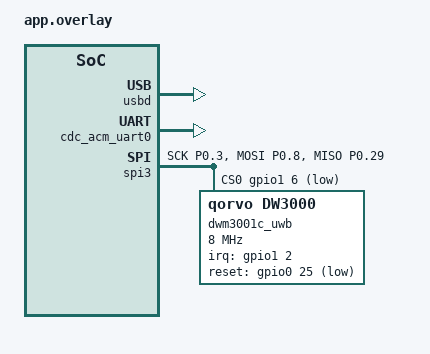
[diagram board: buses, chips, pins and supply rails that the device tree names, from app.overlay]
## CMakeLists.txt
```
cmake_minimum_required(VERSION 3.20.0)

# Configure Devicetree inputs before locating Zephyr
# - Use this app's overlay
set(DTC_OVERLAY_FILE ${CMAKE_CURRENT_SOURCE_DIR}/app.overlay)
# - Add the uwb_chipid directory which contains our custom DT bindings
#   (dts/bindings/qorvo,dw3000.yaml)
set(DTS_ROOT
    ${CMAKE_CURRENT_SOURCE_DIR}
    ${CMAKE_CURRENT_SOURCE_DIR}/../uwb_chipid
)

find_package(Zephyr REQUIRED HINTS $ENV{ZEPHYR_BASE})
project(twr_initiator)

# Qorvo DW3000 driver from SDK
set(QORVO_DWT_PATH ${CMAKE_CURRENT_SOURCE_DIR}/../../DW3_QM33_SDK_1/Drivers/API/Shared/dwt_uwb_driver)
target_include_directories(app PRIVATE
  ${QORVO_DWT_PATH}
  # For deca_probe_interface.h reused from uwb_chipid
  ${CMAKE_CURRENT_SOURCE_DIR}/../uwb_chipid/src
)

# App sources
target_sources(app PRIVATE
  src/main.c
  # Reuse the tiny Zephyr port and probe interface from uwb_chipid demo
  ${CMAKE_CURRENT_SOURCE_DIR}/../uwb_chipid/src/dw3000_port.c
  ${CMAKE_CURRENT_SOURCE_DIR}/../uwb_chipid/src/deca_probe_interface_zephyr.c
  ${CMAKE_CURRENT_SOURCE_DIR}/../uwb_chipid/src/deca_rsl_stub.c
)

# Minimal set of driver sources (TX/RX + timestamps)
target_sources(app PRIVATE
    ${QORVO_DWT_PATH}/deca_interface.c
    ${QORVO_DWT_PATH}/deca_compat.c
    ${QORVO_DWT_PATH}/dw3000/dw3000_device.c
)
```

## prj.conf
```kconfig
# Console over USB CDC (J20) using classic USB stack
CONFIG_SERIAL=y
CONFIG_CONSOLE=y
CONFIG_PRINTK=y
CONFIG_UART_CONSOLE=y
CONFIG_UART_LINE_CTRL=y

# Classic USB device stack + CDC ACM
CONFIG_USB_DEVICE_STACK=y
CONFIG_USB_CDC_ACM=y

# Core drivers and debug
CONFIG_SPI=y
CONFIG_GPIO=y
CONFIG_THREAD_NAME=y
CONFIG_ASSERT=y
CONFIG_HEAP_MEM_POOL_SIZE=2048

# Optional logging (immediate to avoid buffering over CDC)
CONFIG_LOG=y
CONFIG_LOG_MODE_IMMEDIATE=y
```

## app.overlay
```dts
/*
 * DWM3001CDK TWR Initiator overlay
 * - USB CDC ACM console via USBD (new stack)
 * - DW3110 (DW3000) wiring on nRF52833 DK (DWM3001CDK)
 */

/ {
    chosen {
        zephyr,console = &cdc_acm_uart0;
        zephyr,shell-uart = &cdc_acm_uart0;
    };
};

/* USB CDC */
&usbd { status = "okay"; };

/* USB CDC ACM UART-backed console */
&zephyr_udc0 {
    cdc_acm_uart0: cdc_acm_uart0 {
        compatible = "zephyr,cdc-acm-uart";
        label = "CDC_ACM_0";
    };
};

/* --- DW3110 on SPI --- */
/* 1) Enable the SPI controller actually wired to the DW3110 (DWM3001CDK uses SPIM3) */
&spi3 {
    status = "okay";
    /* Use pinctrl (required by nrf-spim binding) */
    pinctrl-0 = <&spi3_dwm_default>;
    pinctrl-1 = <&spi3_dwm_sleep>;
    pinctrl-names = "default", "sleep";
    /* DW3110 uses a GPIO-based CS line */
    cs-gpios = <&gpio1 6 GPIO_ACTIVE_LOW>;
};

/* 2) Create a child node describing the DW3110 on that SPI bus */
&spi3 {
    dwm3001c_uwb: dwm3001c_uwb@0 {
        compatible = "qorvo,dw3000";
        reg = <0>;
        spi-max-frequency = <8000000>; /* start slow, you can raise after probe */

        /* From DWM3001CDK board header/schematic */
        irq-gpios  = <&gpio1 2 GPIO_ACTIVE_HIGH>;  /* DW3110 IRQ → P1.02 */
        reset-gpios= <&gpio0 25 GPIO_ACTIVE_LOW>;  /* DW3110 RSTn → P0.25 */
    };
};

/* Custom pinctrl groups for SPIM3 wired to DW3110 on DWM3001CDK */
&pinctrl {
    spi3_dwm_default: spi3_dwm_default {
        group1 {
            psels = <NRF_PSEL(SPIM_SCK, 0, 3)>,
                    <NRF_PSEL(SPIM_MOSI, 0, 8)>,
                    <NRF_PSEL(SPIM_MISO, 0, 29)>;
        };
    };

    spi3_dwm_sleep: spi3_dwm_sleep {
        group1 {
            psels = <NRF_PSEL(SPIM_SCK, 0, 3)>,
                    <NRF_PSEL(SPIM_MOSI, 0, 8)>,
                    <NRF_PSEL(SPIM_MISO, 0, 29)>;
            low-power-enable;
        };
    };
};
```

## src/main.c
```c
#include <zephyr/kernel.h>
#include <zephyr/sys/printk.h>
#include <zephyr/usb/usb_device.h>
#include <zephyr/drivers/uart.h>
#include <string.h>
#include <zephyr/device.h>
#include <zephyr/drivers/gpio.h>

/* Qorvo DW3000 driver headers */
#include "deca_device_api.h"
#include "deca_probe_interface.h"

/* Port helpers from uwb_chipid demo */
int dw_port_init(void);
void dw_port_reset_assert(void);
void dw_port_reset_deassert(void);

/* === Simple shared message header === */
enum { MSG_POLL = 0x01, MSG_RESP = 0x02, MSG_FINAL = 0x03 };
struct __attribute__((packed)) uwb_msg {
    uint8_t type;
    uint8_t seq;
    uint8_t tag_id; /* optional */
    uint8_t rsv;
};

struct __attribute__((packed)) final_payload {
    uint64_t t_tx_poll;
    uint64_t t_rx_resp;
    uint64_t t_tx_final; /* include to help responder compute */
};

/* Conversion: UWB microsecond (uus) to device time units (DTU) */
#define UUS_TO_DWT_TIME 63898U

/* Practical constants */
#define RESP_EXPECT_DLY_UUS 300U      /* RX after POLL TX delay to expect RESP */
#define FINAL_DELAY_UUS     300U      /* delay from RESP RX to FINAL TX */
#define RX_TIMEOUT_UUS      15000U    /* 15 ms safety */

/* IRQ from DT (same node as uwb_chipid) */
#define UWB_NODE DT_NODELABEL(dwm3001c_uwb)
static const struct gpio_dt_spec uwb_irq = GPIO_DT_SPEC_GET(UWB_NODE, irq_gpios);

/* ISR -> callbacks -> semaphores */
static struct k_sem sem_tx_done;
static struct k_sem sem_rx_done;
static struct k_sem sem_rx_to;
static struct k_sem sem_rx_err;

static uint8_t rx_buf[128];
static uint16_t rx_len;
static uint64_t last_rx_ts;
static uint64_t last_tx_ts;

static inline uint64_t ts5_to_u64(const uint8_t ts[5])
{
    uint64_t v = ((uint64_t)ts[4] << 32) | ((uint64_t)ts[3] << 24) |
                 ((uint64_t)ts[2] << 16) | ((uint64_t)ts[1] << 8) | (uint64_t)ts[0];
    return v;
}

static uint64_t get_rx_timestamp_u64(void)
{
    uint8_t ts[5] = {0};
    dwt_readrxtimestamp(ts, DWT_COMPAT_NONE);
    return ts5_to_u64(ts);
}

static uint64_t get_tx_timestamp_u64(void)
{
    uint8_t ts[5] = {0};
    dwt_readtxtimestamp(ts);
    return ts5_to_u64(ts);
}

/* DWT IRQ -> run driver ISR */
static struct gpio_callback irq_cb;
static void uwb_irq_handler(const struct device *dev, struct gpio_callback *cb, uint32_t pins)
{
    ARG_UNUSED(dev); ARG_UNUSED(cb); ARG_UNUSED(pins);
    dwt_isr();
}

/* DWT event callbacks */
static void on_tx_done(const dwt_cb_data_t *cb)
{
    ARG_UNUSED(cb);
    last_tx_ts = get_tx_timestamp_u64();
    k_sem_give(&sem_tx_done);
}

static void on_rx_ok(const dwt_cb_data_t *cb)
{
    rx_len = cb->datalength;
    if (rx_len > sizeof(rx_buf)) rx_len = sizeof(rx_buf);
    dwt_readrxdata(rx_buf, rx_len, 0);
    last_rx_ts = get_rx_timestamp_u64();
    k_sem_give(&sem_rx_done);
}

static void on_rx_to(const dwt_cb_data_t *cb)
{
    ARG_UNUSED(cb);
    k_sem_give(&sem_rx_to);
}

static void on_rx_err(const dwt_cb_data_t *cb)
{
    ARG_UNUSED(cb);
    k_sem_give(&sem_rx_err);
}

static void usb_ready_wait(void)
{
    /* Bring up USB device stack */
    (void)usb_enable(NULL);
    /* Allow some time for enumeration to start */
    k_msleep(100);

    /* Wait for a host terminal to open (DTR asserted) on CDC ACM */
    const struct device *const uart_dev = DEVICE_DT_GET(DT_NODELABEL(cdc_acm_uart0));

    /* If the CDC ACM device is not yet ready, poll briefly */
    int tries = 50; /* ~5s max */
    while (!device_is_ready(uart_dev) && tries--) {
        k_msleep(100);
    }

    /* Block until the host asserts DTR so the banner is not lost. */
    uint32_t dtr = 0;
    while (1) {
        (void)uart_line_ctrl_get(uart_dev, UART_LINE_CTRL_DTR, &dtr);
        if (dtr) {
            break;
        }
        k_msleep(50);
    }
    /* Small settle to avoid cutting the first line */
    k_msleep(50);
}

static int dw3110_radio_init(void)
{
    /* Hardware reset */
    dw_port_reset_assert();
    k_msleep(2);
    dw_port_reset_deassert();
    k_msleep(5);

    if (dwt_probe((struct dwt_probe_s *)&dw3000_probe_interf) < 0) {
        return -EIO;
    }
    while (!dwt_checkidlerc()) {
        k_busy_wait(50);
    }
    if (dwt_initialise(DWT_READ_OTP_ALL) != DWT_SUCCESS) {
        return -EIO;
    }

    /* Load a sane profile: Ch 9, 6.8 Mbps, PRF64, preamble 128, 4A SFD */
    dwt_config_t cfg = {
        .chan = 9,
        .txPreambLength = DWT_PLEN_128,
        .rxPAC = DWT_PAC8,
        .txCode = 9,
        .rxCode = 9,
        .sfdType = DWT_SFD_IEEE_4A,
        .dataRate = DWT_BR_6M8,
        .phrMode = DWT_PHRMODE_STD,
        .phrRate = DWT_PHRRATE_STD,
        .sfdTO = DWT_SFDTOC_DEF,
        .stsMode = DWT_STS_MODE_OFF,
        .stsLength = DWT_STS_LEN_32,
        .pdoaMode = DWT_PDOA_M0,
    };
    if (dwt_configure(&cfg) != DWT_SUCCESS) {
        return -EIO;
    }

    /* Disable frame filtering */
    dwt_configureframefilter(DWT_FF_DISABLE, 0);

    /* Enable interrupts: TX done, RX good, RX timeout, preamble timeout */
    dwt_setinterrupt(DWT_INT_TXFRS_BIT_MASK |
                         DWT_INT_RXFCG_BIT_MASK |
                         DWT_INT_RXFTO_BIT_MASK |
                         DWT_INT_RXPTO_BIT_MASK,
                     0, DWT_ENABLE_INT);

    /* Register callbacks */
    dwt_callbacks_s cbs = {0};
    cbs.cbTxDone = on_tx_done;
    cbs.cbRxOk = on_rx_ok;
    cbs.cbRxTo = on_rx_to;
    cbs.cbRxErr = on_rx_err;
    dwt_setcallbacks(&cbs);

    return 0;
}

static int irq_setup(void)
{
    if (!device_is_ready(uwb_irq.port)) return -ENODEV;
    int ret = gpio_pin_configure_dt(&uwb_irq, GPIO_INPUT);
    if (ret) return ret;
    ret = gpio_pin_interrupt_configure_dt(&uwb_irq, GPIO_INT_EDGE_TO_ACTIVE);
    if (ret) return ret;
    gpio_init_callback(&irq_cb, uwb_irq_handler, BIT(uwb_irq.pin));
    gpio_add_callback(uwb_irq.port, &irq_cb);
    return 0;
}

static void print_times_init(uint8_t seq,
                             uint64_t t_tx_poll,
                             uint64_t t_rx_resp,
                             uint64_t t_tx_resp_remote,
                             uint64_t t_tx_final)
{
    /* rssi/snr placeholders */
    int rssi_q8 = 0, snr_q8 = 0;
    printk("INIT: seq=%u txP=%llu rxR=%llu txRr=%llu txF=%llu rssiQ8=%d snrQ8=%d\n",
           seq, t_tx_poll, t_rx_resp, t_tx_resp_remote, t_tx_final, rssi_q8, snr_q8);
}

void main(void)
{
    usb_ready_wait();
    printk("\n[DWM3001CDK] TWR Initiator start\n");

    k_sem_init(&sem_tx_done, 0, 1);
    k_sem_init(&sem_rx_done, 0, 1);
    k_sem_init(&sem_rx_to, 0, 1);
    k_sem_init(&sem_rx_err, 0, 1);

    if (dw_port_init()) {
        printk("Port init failed. Check overlay pins.\n");
        return;
    }
    if (irq_setup()) {
        printk("IRQ setup failed.\n");
        return;
    }
    if (dw3110_radio_init()) {
        printk("DW3110 init failed.\n");
        return;
    }

    /* Configure expected RESP window */
    dwt_setrxaftertxdelay(RESP_EXPECT_DLY_UUS);
    dwt_setrxtimeout(300); /* ~300 UUS for response frame body */
    dwt_setpreambledetecttimeout(5);

    uint16_t tx_ant = dwt_gettxantennadelay();
    uint8_t seq = 0;

    uint32_t no_resp_counter = 0;
    while (1) {
        /* --- POLL --- */
        uint8_t tx_frame[sizeof(struct uwb_msg)] = {0};
        struct uwb_msg *p = (struct uwb_msg *)tx_frame;
        p->type = MSG_POLL;
        p->seq = seq;
        p->tag_id = 0x01;
        p->rsv = 0x00;

        dwt_writetxdata(sizeof(tx_frame), tx_frame, 0);
        dwt_writetxfctrl(sizeof(tx_frame), 0, 1);
        dwt_starttx(DWT_START_TX_IMMEDIATE | DWT_RESPONSE_EXPECTED);
        (void)k_sem_take(&sem_tx_done, K_MSEC(5));
        uint64_t t_tx_poll = last_tx_ts;

        /* --- wait RESP --- */
        uint64_t t_rx_resp = 0;
        uint64_t t_tx_resp_remote = 0;
        int got_resp = 0;
        if (k_sem_take(&sem_rx_done, K_MSEC(20)) == 0) {
            if (rx_len >= sizeof(struct uwb_msg)) {
                struct uwb_msg *m = (struct uwb_msg *)rx_buf;
                if (m->type == MSG_RESP && m->seq == seq) {
                    t_rx_resp = last_rx_ts;
                    if (rx_len >= sizeof(struct uwb_msg) + sizeof(uint64_t)) {
                        memcpy(&t_tx_resp_remote, rx_buf + sizeof(struct uwb_msg), sizeof(uint64_t));
                    }
                    got_resp = 1;
                }
            }
        } else {
            /* drain */
            (void)k_sem_take(&sem_rx_to, K_NO_WAIT);
            (void)k_sem_take(&sem_rx_err, K_NO_WAIT);
        }
        if (!got_resp) {
            /* Retry next loop; print a heartbeat once per ~1s */
            if ((no_resp_counter++ % 10u) == 0u) {
                printk("INIT: no response, seq=%u\n", seq);
            }
            seq++;
            k_msleep(100);
            continue;
        }

        /* --- FINAL (embed two timestamps + final TX time) --- */
        uint32_t final_tx_time32 = (uint32_t)((t_rx_resp + ((uint64_t)FINAL_DELAY_UUS * UUS_TO_DWT_TIME)) >> 8);
        dwt_setdelayedtrxtime(final_tx_time32);
        uint64_t t_tx_final = (((uint64_t)(final_tx_time32 & 0xFFFFFFFEUL)) << 8) + tx_ant;

        uint8_t final_frame[sizeof(struct uwb_msg) + sizeof(struct final_payload)] = {0};
        struct uwb_msg *f = (struct uwb_msg *)final_frame;
        f->type = MSG_FINAL;
        f->seq = seq;
        f->tag_id = 0x01;
        f->rsv = 0x00;
        struct final_payload fp = {.t_tx_poll = t_tx_poll, .t_rx_resp = t_rx_resp, .t_tx_final = t_tx_final};
        memcpy(final_frame + sizeof(struct uwb_msg), &fp, sizeof(fp));

        dwt_writetxdata(sizeof(final_frame), final_frame, 0);
        dwt_writetxfctrl(sizeof(final_frame), 0, 1);
        if (dwt_starttx(DWT_START_TX_DELAYED) == DWT_ERROR) {
            /* Late, just skip */
            seq++;
            k_msleep(100);
            continue;
        }
        (void)k_sem_take(&sem_tx_done, K_MSEC(5));

        /* Log; initiator side does not compute range (no t_rx_final). */
        print_times_init(seq, t_tx_poll, t_rx_resp, t_tx_resp_remote, t_tx_final);

        seq++;
        /* Pace to ~10 Hz */
        k_msleep(100);
    }
}
```
